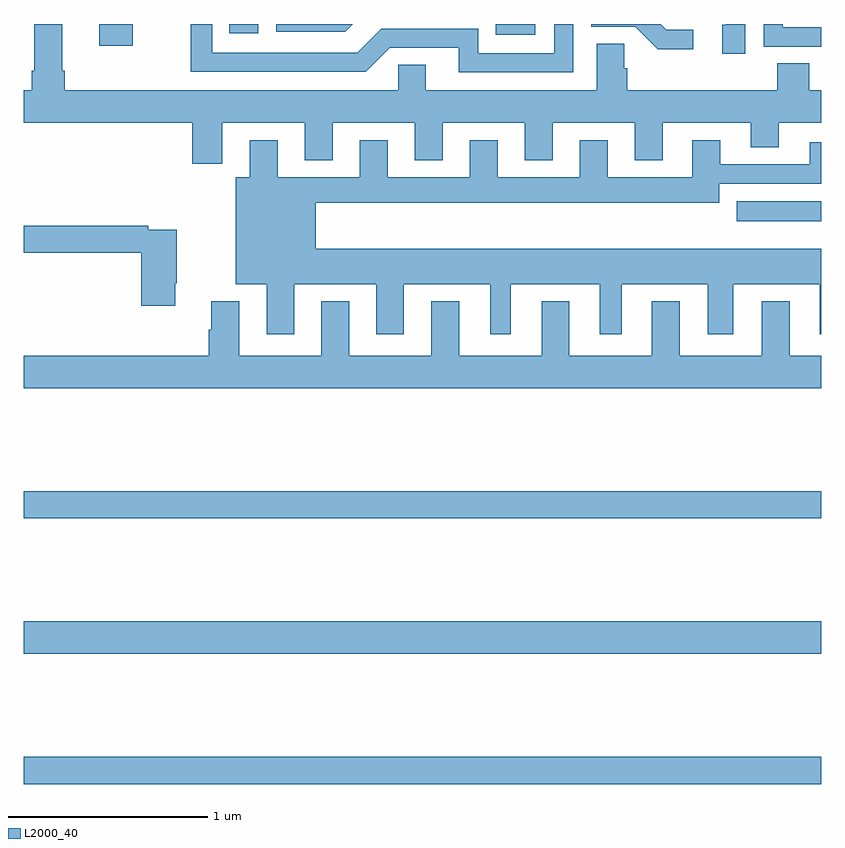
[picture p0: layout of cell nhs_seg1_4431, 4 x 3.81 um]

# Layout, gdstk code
import gdstk
lib = gdstk.Library(unit=1e-6, precision=1e-09)
def R(c, l, rs):  # rectangles x0, y0, x1, y1
    for r in rs: c.add(gdstk.rectangle(r[:2], r[2:], *l))
def P(c, l, *ps):  # polygons
    for p in ps: c.add(gdstk.Polygon(p, *l))
L2000_40 = (2000, 40)

nhs_seg1_4431 = lib.new_cell('nhs_seg1_4431')
R(nhs_seg1_4431, L2000_40, [(351,576.388,355,576.524), (351,577.04,355,577.204), (351,577.72,355,577.856), (354.576,579.209,355,579.31), (351.38,580.089,351.546,580.199), (353.368,580.145,353.566,580.199), (352.03,580.152,352.176,580.199)])
P(nhs_seg1_4431, L2000_40, [(352.65,580.199),(352.266,580.199),(352.266,580.161),(352.612,580.161)],
  [(355,580.182),(354.807,580.182),(354.807,580.199),(354.711,580.199),(354.711,580.086),(355,580.086)],
  [(351.997,579.704),(352.409,579.704),(352.409,579.515),(352.549,579.515),(352.549,579.704),(352.961,579.704),(352.961,579.515),(353.101,579.515),(353.101,579.704),(353.513,579.704),(353.513,579.515),(353.653,579.515),(353.653,579.704),(354.065,579.704),(354.065,579.515),(354.205,579.515),(354.205,579.704),(354.647,579.704),(354.647,579.58),(354.787,579.58),(354.787,579.704),(355,579.704),(355,579.868),(354.939,579.868),(354.939,580.001),(354.779,580.001),(354.779,579.868),(354.026,579.868),(354.026,579.977),(354.012,579.977),(354.012,580.1),(353.873,580.1),(353.873,579.868),(353.017,579.868),(353.017,579.995),(352.878,579.995),(352.878,579.868),(351.206,579.868),(351.206,579.964),(351.193,579.964),(351.193,580.199),(351.053,580.199),(351.053,579.964),(351.041,579.964),(351.041,579.868),(351,579.868),(351,579.704),(351.845,579.704),(351.845,579.498),(351.997,579.498)],
  [(354.618,580.199),(354.522,580.199),(354.522,580.194),(354.503,580.194),(354.503,580.05),(354.618,580.05)],
  [(353.757,580.199),(353.661,580.199),(353.661,580.053),(353.28,580.053),(353.28,580.176),(352.794,580.176),(352.674,580.056),(351.945,580.056),(351.945,580.199),(351.837,580.199),(351.837,579.96),(352.716,579.96),(352.836,580.08),(353.183,580.08),(353.183,579.957),(353.757,579.957)],
  [(354.358,580.17),(354.223,580.17),(354.194,580.199),(353.847,580.199),(353.847,580.185),(354.066,580.185),(354.179,580.073),(354.358,580.073)],
  [(352.357,578.894),(352.769,578.894),(352.769,578.643),(352.906,578.643),(352.906,578.894),(353.339,578.894),(353.339,578.643),(353.443,578.643),(353.443,578.894),(353.888,578.894),(353.888,578.643),(353.998,578.643),(353.998,578.894),(354.431,578.894),(354.431,578.643),(354.559,578.643),(354.559,578.894),(354.992,578.894),(354.992,578.643),(355,578.643),(355,579.073),(352.465,579.073),(352.465,579.302),(354.487,579.302),(354.487,579.399),(355,579.399),(355,579.607),(354.941,579.607),(354.941,579.495),(354.493,579.495),(354.493,579.616),(354.353,579.616),(354.353,579.43),(353.929,579.43),(353.929,579.616),(353.789,579.616),(353.789,579.43),(353.377,579.43),(353.377,579.616),(353.237,579.616),(353.237,579.43),(352.825,579.43),(352.825,579.616),(352.685,579.616),(352.685,579.43),(352.273,579.43),(352.273,579.616),(352.133,579.616),(352.133,579.43),(352.064,579.43),(352.064,578.894),(352.22,578.894),(352.22,578.643),(352.357,578.643)],
  [(351.76,578.899),(351.768,578.899),(351.768,579.168),(351.626,579.168),(351.626,579.188),(351,579.188),(351,579.052),(351.59,579.052),(351.59,578.787),(351.76,578.787)],
  [(355,578.536),(354.841,578.536),(354.841,578.809),(354.701,578.809),(354.701,578.536),(354.289,578.536),(354.289,578.809),(354.149,578.809),(354.149,578.536),(353.737,578.536),(353.737,578.809),(353.597,578.809),(353.597,578.536),(353.185,578.536),(353.185,578.809),(353.045,578.809),(353.045,578.536),(352.633,578.536),(352.633,578.809),(352.493,578.809),(352.493,578.536),(352.081,578.536),(352.081,578.809),(351.941,578.809),(351.941,578.667),(351.929,578.667),(351.929,578.536),(351,578.536),(351,578.372),(355,578.372)])

lib.write_gds('nhs_seg1_4431.gds')
